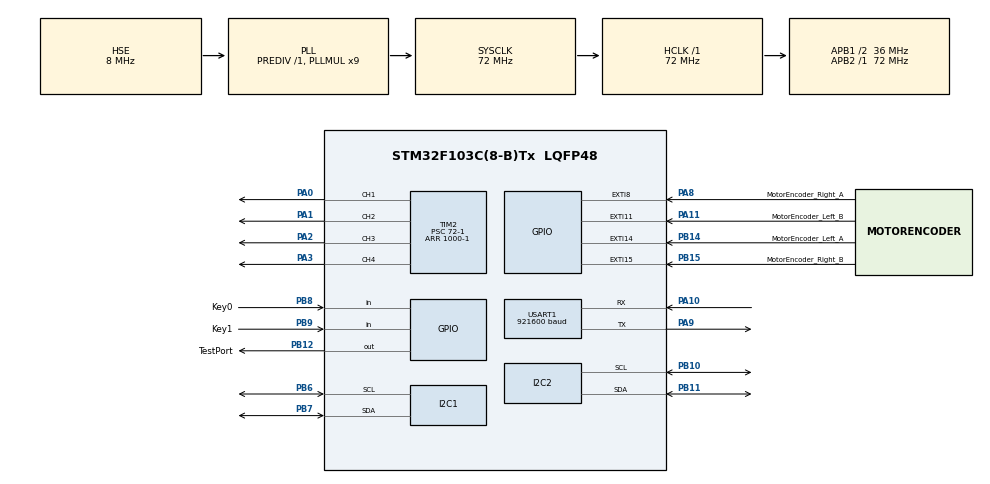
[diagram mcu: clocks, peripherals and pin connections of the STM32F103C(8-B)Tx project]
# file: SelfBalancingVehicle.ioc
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Dma.Request0=USART1_RX
Dma.Request1=USART1_TX
Dma.USART1_RX.0.Direction=DMA_PERIPH_TO_MEMORY
Dma.USART1_RX.0.Instance=DMA1_Channel5
Dma.USART1_RX.0.MemDataAlignment=DMA_MDATAALIGN_BYTE
Dma.USART1_RX.0.MemInc=DMA_MINC_ENABLE
Dma.USART1_RX.0.Mode=DMA_CIRCULAR
Dma.USART1_RX.0.PeriphDataAlignment=DMA_PDATAALIGN_BYTE
Dma.USART1_RX.0.PeriphInc=DMA_PINC_DISABLE
Dma.USART1_RX.0.Priority=DMA_PRIORITY_LOW
Dma.USART1_TX.1.Direction=DMA_MEMORY_TO_PERIPH
Dma.USART1_TX.1.Instance=DMA1_Channel4
Dma.USART1_TX.1.MemDataAlignment=DMA_MDATAALIGN_BYTE
Dma.USART1_TX.1.MemInc=DMA_MINC_ENABLE
Dma.USART1_TX.1.Mode=DMA_NORMAL
Dma.USART1_TX.1.PeriphDataAlignment=DMA_PDATAALIGN_BYTE
Dma.USART1_TX.1.PeriphInc=DMA_PINC_DISABLE
Dma.USART1_TX.1.Priority=DMA_PRIORITY_LOW
I2C2.I2C_Mode=I2C_Fast
Mcu.Family=STM32F1
Mcu.Name=STM32F103C(8-B)Tx
Mcu.Package=LQFP48
NVIC.DMA1_Channel4_IRQn=true\:0\:0\:false\:false\:true\:false\:true\:true
NVIC.DMA1_Channel5_IRQn=true\:0\:0\:false\:false\:true\:false\:true\:true
NVIC.EXTI15_10_IRQn=true\:0\:0\:false\:false\:true\:true\:true\:true
NVIC.EXTI9_5_IRQn=true\:0\:0\:false\:false\:true\:true\:true\:true
NVIC.PriorityGroup=NVIC_PRIORITYGROUP_4
NVIC.TIM1_UP_IRQn=true\:0\:0\:false\:false\:true\:true\:true\:true
NVIC.TIM2_IRQn=true\:0\:0\:false\:false\:true\:true\:true\:true
NVIC.USART1_IRQn=true\:0\:0\:false\:false\:true\:true\:true\:true
PA0-WKUP.Signal=S_TIM2_CH1_ETR
PA1.Signal=S_TIM2_CH2
PA10.Mode=Asynchronous
PA10.Signal=USART1_RX
PA11.GPIO_Label=MotorEncoder_Left_B
PA11.GPIO_ModeDefaultEXTI=GPIO_MODE_IT_RISING_FALLING
PA11.Signal=GPXTI11
PA13.Mode=Serial_Wire
PA13.Signal=SYS_JTMS-SWDIO
PA14.Mode=Serial_Wire
PA14.Signal=SYS_JTCK-SWCLK
PA2.Signal=S_TIM2_CH3
PA3.Signal=S_TIM2_CH4
PA8.GPIO_Label=MotorEncoder_Right_A
PA8.GPIO_ModeDefaultEXTI=GPIO_MODE_IT_RISING_FALLING
PA8.Signal=GPXTI8
PA9.Mode=Asynchronous
PA9.Signal=USART1_TX
PB10.GPIO_Pu=GPIO_PULLUP
PB10.Mode=I2C
PB10.Signal=I2C2_SCL
PB11.GPIO_Pu=GPIO_PULLUP
PB11.Mode=I2C
PB11.Signal=I2C2_SDA
PB12.GPIO_Label=TestPort
PB12.GPIO_Speed=GPIO_SPEED_FREQ_HIGH
PB12.Signal=GPIO_Output
PB14.GPIO_Label=MotorEncoder_Left_A
PB14.GPIO_ModeDefaultEXTI=GPIO_MODE_IT_RISING_FALLING
PB14.Signal=GPXTI14
PB15.GPIO_Label=MotorEncoder_Right_B
PB15.GPIO_ModeDefaultEXTI=GPIO_MODE_IT_RISING_FALLING
PB15.Signal=GPXTI15
PB6.GPIO_Pu=GPIO_PULLUP
PB6.Mode=I2C
PB6.Signal=I2C1_SCL
PB7.GPIO_Pu=GPIO_PULLUP
PB7.Mode=I2C
PB7.Signal=I2C1_SDA
PB8.GPIO_Label=Key0
PB8.GPIO_PuPd=GPIO_PULLUP
PB8.Signal=GPIO_Input
PB9.GPIO_Label=Key1
PB9.GPIO_PuPd=GPIO_PULLUP
PB9.Signal=GPIO_Input
PD0-OSC_IN.Mode=HSE-External-Oscillator
PD0-OSC_IN.Signal=RCC_OSC_IN
PD1-OSC_OUT.Mode=HSE-External-Oscillator
PD1-OSC_OUT.Signal=RCC_OSC_OUT
ProjectManager.HeapSize=0x200
ProjectManager.StackSize=0x400
ProjectManager.TargetToolchain=MDK-ARM V5
RCC.AHBFreq_Value=72000000
RCC.APB1CLKDivider=RCC_HCLK_DIV2
RCC.APB1Freq_Value=36000000
RCC.APB1TimFreq_Value=72000000
RCC.APB2Freq_Value=72000000
RCC.APB2TimFreq_Value=72000000
RCC.HCLKFreq_Value=72000000
RCC.PLLMUL=RCC_PLL_MUL9
RCC.PLLSourceVirtual=RCC_PLLSOURCE_HSE
RCC.SYSCLKFreq_VALUE=72000000
RCC.SYSCLKSource=RCC_SYSCLKSOURCE_PLLCLK
RCC.USBFreq_Value=72000000
SH.S_TIM2_CH1_ETR.0=TIM2_CH1,PWM Generation1 CH1
SH.S_TIM2_CH2.0=TIM2_CH2,PWM Generation2 CH2
SH.S_TIM2_CH3.0=TIM2_CH3,PWM Generation3 CH3
SH.S_TIM2_CH4.0=TIM2_CH4,PWM Generation4 CH4
TIM1.AutoReloadPreload=TIM_AUTORELOAD_PRELOAD_ENABLE
TIM1.CounterMode=TIM_COUNTERMODE_UP
TIM1.Period=1000-1
TIM1.Prescaler=72-1
TIM2.AutoReloadPreload=TIM_AUTORELOAD_PRELOAD_ENABLE
TIM2.Channel-PWM\ Generation1\ CH1=TIM_CHANNEL_1
TIM2.Channel-PWM\ Generation2\ CH2=TIM_CHANNEL_2
TIM2.Channel-PWM\ Generation3\ CH3=TIM_CHANNEL_3
TIM2.Channel-PWM\ Generation4\ CH4=TIM_CHANNEL_4
TIM2.Period=1000-1
TIM2.Prescaler=72-1
USART1.BaudRate=921600
USART1.VirtualMode=VM_ASYNC
VP_TIM1_VS_ClockSourceINT.Mode=Internal
VP_TIM2_VS_ClockSourceINT.Mode=Internal
board=custom

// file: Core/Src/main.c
/* USER CODE BEGIN Header */
/**
  ******************************************************************************
  * @file           : main.c
  * @brief          : Main program body
  ******************************************************************************
  * @attention
  *
  * <h2><center>&copy; Copyright (c) 2024 STMicroelectronics.
  * All rights reserved.</center></h2>
  *
  * This software component is licensed by ST under BSD 3-Clause license,
  * the "License"; You may not use this file except in compliance with the
  * License. You may obtain a copy of the License at:
  *                        opensource.org/licenses/BSD-3-Clause
  *
  ******************************************************************************
  */
/* USER CODE END Header */
#include "main.h"
#include "dma.h"
#include "i2c.h"
#include "tim.h"
#include "usart.h"
#include "gpio.h"

/* USER CODE BEGIN Includes */
#include "delay.h"
#include "Motors.h"
#include "oled.h"
#include "mpu6050.h"
#include "inv_mpu.h"
#include "SerialPort.h"
#include "Protocol.h"
#include "BalanceControl.h"

/* USER CODE END Includes */

void SystemClock_Config(void);

int main(void)
{

  /* USER CODE BEGIN 1 */
//	int16_t ax, ay, az;
//	float pitch, roll, yaw;

//	uint8_t rxData[50];
//	uint32_t rxLen;

  /* USER CODE END 1 */

  /* MCU Configuration--------------------------------------------------------*/

  /* Reset of all peripherals, Initializes the Flash interface and the Systick. */
  HAL_Init();

  /* Configure the system clock */
  SystemClock_Config();

  /* Initialize all configured peripherals */
  MX_GPIO_Init();
  MX_DMA_Init();
  MX_TIM2_Init();
  MX_I2C1_Init();
  MX_USART1_UART_Init();
  MX_TIM1_Init();
  MX_I2C2_Init();
  /* USER CODE BEGIN 2 */

	// 启动PWM输出
	HAL_TIM_PWM_Start(&htim2, TIM_CHANNEL_1);
	HAL_TIM_PWM_Start(&htim2, TIM_CHANNEL_2);
	HAL_TIM_PWM_Start(&htim2, TIM_CHANNEL_3);
	HAL_TIM_PWM_Start(&htim2, TIM_CHANNEL_4);
	SetLeftMotor(0);
	SetRightMotor(0);

	// 串口初始化
	SerialPortOpen();

//	OLED_Init();			//初始化OLED
//	OLED_ShowString(4*16,1,"BY:CJH2",8);

	// 初始化MPU6050
	// MPU_Init();
	while( mpu_dmp_init() ){};

	// 启动定时器中断
	HAL_TIM_Base_Start_IT(&htim1);
  /* USER CODE END 2 */

  /* Infinite loop */
  /* USER CODE BEGIN WHILE */
  while (1)
  {
//		HAL_Delay(500);
		// Test();
		// ProtocolEncode("1234\x7D\x7E", 6);
		ProtocolDecode(NULL, 0);

//		SerialRead(rxData, &rxLen);
//		if(rxLen > 0)
//		{
//			SerialWrite(rxData, rxLen);
//		}

//		for(int c = 0; c <= 10; c++)
//		{
//				OLED_ShowNum(64, 0, c, 4, 6);
//			SetLeftMotor(FORWARD, c);
//		}
//		delay_ms(1000);
//		OLED_ShowNum(0, 0, 0, 4, 12);
//		BrakingLeftMotor();
//		delay_ms(1000);

//		MPU_Get_Accelerometer(&ax, &ay, &az);
//
//		ax = GetLeftMotorSpeed();
//		ay = GetRightMotorSpeed();
//
//		//az = 32767;

//		if(mpu_dmp_get_data(&pitch, &roll, &yaw) != 0)
//			continue;
		OnMainForBalanceControl();

//		ax = pitch * 10;	// 俯仰角（±90°，平衡角）
//		if(ax < 0)
//		{
//			OLED_ShowChar(0, 0, '-', 6);
//			ax=-ax;
//		}
//		else
//			OLED_ShowChar(0, 0, ' ', 6);
//		OLED_ShowNum(1*6, 0, ax, 5, 6);
//
//		ay = roll * 10;		// 横滚角（±180°）
//		if(ay < 0)
//		{
//			OLED_ShowChar(0, 1, '-', 6);
//			ay=-ay;
//		}
//		else
//			OLED_ShowChar(0, 1, ' ', 6);
//		OLED_ShowNum(1*6, 1, ay, 5, 6);
//
//		az = yaw * 10;		// 航向角（0~360°）
//		if(az < 0)
//		{
//			OLED_ShowChar(0, 2, '-', 6);
//			az=-az;
//		}
//		else
//			OLED_ShowChar(0, 2, ' ', 6);
//		OLED_ShowNum(1*6, 2, az, 5, 6);
//		delay_ms(500);

		// 主循环内容
    /* USER CODE END WHILE */

  }
}

void SystemClock_Config(void)
{
  RCC_OscInitTypeDef RCC_OscInitStruct = {0};
  RCC_ClkInitTypeDef RCC_ClkInitStruct = {0};

  /** Initializes the RCC Oscillators according to the specified parameters
  * in the RCC_OscInitTypeDef structure.
  */
  RCC_OscInitStruct.OscillatorType = RCC_OSCILLATORTYPE_HSE;
  RCC_OscInitStruct.HSEState = RCC_HSE_ON;
  RCC_OscInitStruct.HSEPredivValue = RCC_HSE_PREDIV_DIV1;
  RCC_OscInitStruct.HSIState = RCC_HSI_ON;
  RCC_OscInitStruct.PLL.PLLState = RCC_PLL_ON;
  RCC_OscInitStruct.PLL.PLLSource = RCC_PLLSOURCE_HSE;
  RCC_OscInitStruct.PLL.PLLMUL = RCC_PLL_MUL9;
  if (HAL_RCC_OscConfig(&RCC_OscInitStruct) != HAL_OK)
  {
    Error_Handler();
  }

  /** Initializes the CPU, AHB and APB buses clocks
  */
  RCC_ClkInitStruct.ClockType = RCC_CLOCKTYPE_HCLK|RCC_CLOCKTYPE_SYSCLK
                              |RCC_CLOCKTYPE_PCLK1|RCC_CLOCKTYPE_PCLK2;
  RCC_ClkInitStruct.SYSCLKSource = RCC_SYSCLKSOURCE_PLLCLK;
  RCC_ClkInitStruct.AHBCLKDivider = RCC_SYSCLK_DIV1;
  RCC_ClkInitStruct.APB1CLKDivider = RCC_HCLK_DIV2;
  RCC_ClkInitStruct.APB2CLKDivider = RCC_HCLK_DIV1;

  if (HAL_RCC_ClockConfig(&RCC_ClkInitStruct, FLASH_LATENCY_2) != HAL_OK)
  {
    Error_Handler();
  }
}

void Error_Handler(void)
{
  __disable_irq();
  while (1)
  {
  }
}
